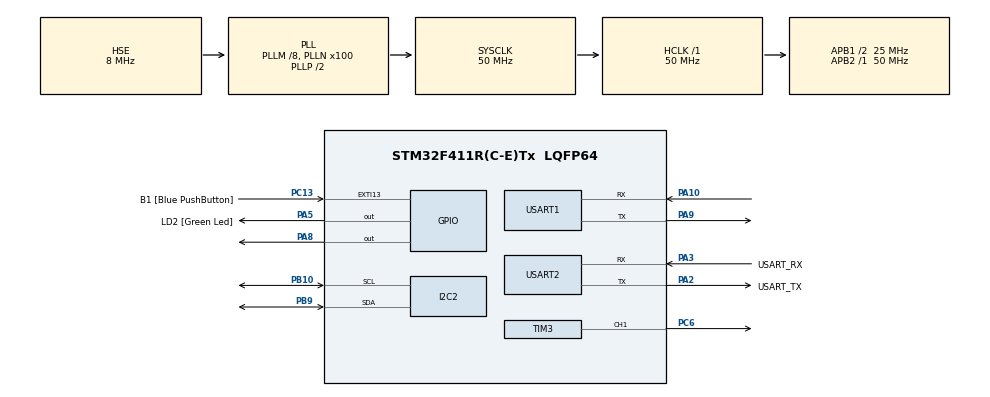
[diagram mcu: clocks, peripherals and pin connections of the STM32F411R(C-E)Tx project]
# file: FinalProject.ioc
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Mcu.Family=STM32F4
Mcu.Name=STM32F411R(C-E)Tx
Mcu.Package=LQFP64
NVIC.PriorityGroup=NVIC_PRIORITYGROUP_4
PA10.Mode=Asynchronous
PA10.Signal=USART1_RX
PA13.GPIO_Label=TMS
PA13.Mode=Serial_Wire
PA13.Signal=SYS_JTMS-SWDIO
PA14.GPIO_Label=TCK
PA14.Mode=Serial_Wire
PA14.Signal=SYS_JTCK-SWCLK
PA2.GPIO_Label=USART_TX
PA2.Mode=Asynchronous
PA2.Signal=USART2_TX
PA3.GPIO_Label=USART_RX
PA3.Mode=Asynchronous
PA3.Signal=USART2_RX
PA5.GPIO_Label=LD2 [Green Led]
PA5.GPIO_PuPd=GPIO_PULLUP
PA5.Signal=GPIO_Output
PA8.GPIO_PuPd=GPIO_PULLUP
PA8.Signal=GPIO_Output
PA9.Mode=Asynchronous
PA9.Signal=USART1_TX
PB10.Mode=I2C
PB10.Signal=I2C2_SCL
PB3.GPIO_Label=SWO
PB3.Signal=SYS_JTDO-SWO
PB9.Mode=I2C
PB9.Signal=I2C2_SDA
PC13-ANTI_TAMP.GPIO_Label=B1 [Blue PushButton]
PC13-ANTI_TAMP.GPIO_ModeDefaultEXTI=GPIO_MODE_IT_FALLING
PC13-ANTI_TAMP.Signal=GPXTI13
PC14-OSC32_IN.Mode=LSE-External-Oscillator
PC14-OSC32_IN.Signal=RCC_OSC32_IN
PC15-OSC32_OUT.Mode=LSE-External-Oscillator
PC15-OSC32_OUT.Signal=RCC_OSC32_OUT
PC6.Signal=S_TIM3_CH1
PH0\ -\ OSC_IN.Mode=HSE-External-Oscillator
PH0\ -\ OSC_IN.Signal=RCC_OSC_IN
PH1\ -\ OSC_OUT.Mode=HSE-External-Oscillator
PH1\ -\ OSC_OUT.Signal=RCC_OSC_OUT
ProjectManager.HeapSize=0x200
ProjectManager.StackSize=0x400
ProjectManager.TargetToolchain=STM32CubeIDE
RCC.48MHZClocksFreq_Value=25000000
RCC.AHBFreq_Value=50000000
RCC.APB1CLKDivider=RCC_HCLK_DIV2
RCC.APB1Freq_Value=25000000
RCC.APB1TimFreq_Value=50000000
RCC.APB2Freq_Value=50000000
RCC.APB2TimFreq_Value=50000000
RCC.CortexFreq_Value=50000000
RCC.FLatency-AdvancedSettings=FLASH_LATENCY_1
RCC.HCLKFreq_Value=50000000
RCC.HSE_VALUE=8000000
RCC.HSI_VALUE=16000000
RCC.PLLM=8
RCC.PLLN=100
RCC.PLLSourceVirtual=RCC_PLLSOURCE_HSE
RCC.SYSCLKFreq_VALUE=50000000
RCC.SYSCLKSource=RCC_SYSCLKSOURCE_PLLCLK
RCC.VCOOutputFreq_Value=100000000
SH.S_TIM3_CH1.0=TIM3_CH1,PWM Generation1 CH1
TIM3.Channel-PWM\ Generation1\ CH1=TIM_CHANNEL_1
TIM3.Prescaler=100-1
USART1.VirtualMode=VM_ASYNC
USART2.VirtualMode=VM_ASYNC
VP_TIM3_VS_ClockSourceINT.Mode=Internal
board=NUCLEO-F411RE

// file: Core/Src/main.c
/* USER CODE BEGIN Header */
/**
 ******************************************************************************
 * @file           : main.c
 * @brief          : Main program body
 ******************************************************************************
 * @attention
 *
 * Copyright (c) 2024 STMicroelectronics.
 * All rights reserved.
 *
 * This software is licensed under terms that can be found in the LICENSE file
 * in the root directory of this software component.
 * If no LICENSE file comes with this software, it is provided AS-IS.
 *
 ******************************************************************************
 */
/* USER CODE END Header */
#include "main.h"

/* USER CODE BEGIN Includes */
#include "bmp280.h"
#include "DHT.h"
#include "string.h"
#include "stdio.h"
/* USER CODE END Includes */

I2C_HandleTypeDef hi2c2;

TIM_HandleTypeDef htim3;

UART_HandleTypeDef huart1;
UART_HandleTypeDef huart2;

/* USER CODE BEGIN PV */

#define ALTITUDE 100; //height from sea level in meter
/* USER CODE END PV */

void SystemClock_Config(void);
static void MX_GPIO_Init(void);
static void MX_USART2_UART_Init(void);
static void MX_USART1_UART_Init(void);
static void MX_TIM3_Init(void);
static void MX_I2C2_Init(void);

/* USER CODE BEGIN 0 */
char uartData[256];

char nodemcu_buffer[150];

float altitude = ALTITUDE
;
// height from sea level in meter

BMP280_HandleTypedef bmp280;

bool bme280p;
float BMP_pressure, BMP_temperature, BMP_humidity;

/* DEFINE THE DHT DataTypedef
 * Look in the DHT.h for the definition
 */
DHT_DataTypedef DHT22_Data;
float DHT_temperature, DHT_humidity;

float cur_pressure, cur_temperature, cur_humidity = 0;
float prev_pressure, prev_temperature, prev_humidity = 0;
uint8_t z; // Prediction value

uint32_t lastReadSensorTick = 0;
uint32_t readSensorInterval = 4000;
uint32_t lastSendDataTick = 0;
uint32_t sendDataInterval = 30000;

void ReadDataFromSensors() {
	// Set LED for Debugging
	HAL_GPIO_WritePin(GPIOA, GPIO_PIN_5, GPIO_PIN_SET);

	// GET DATA FROM DHT22
	sprintf(uartData, "\r\nDHT22 Sensor:\r\n");
	HAL_UART_Transmit(&huart2, (uint8_t*) uartData, strlen(uartData), 1000);
	DHT_GetData(&DHT22_Data);
	DHT_temperature = DHT22_Data.Temperature / 10;
	DHT_humidity = DHT22_Data.Humidity / 10;
	sprintf(uartData, "Temp (C) =\t %.1f\r\nHumidity (%%) =\t %.1f%%\r\n",
			DHT_temperature, DHT_humidity);
	HAL_UART_Transmit(&huart2, (uint8_t*) uartData, strlen(uartData), 1000);

	HAL_Delay(1000); // WAIT

	// GET DATA FROM BMP-280
	sprintf(uartData, "BMP-280 Sensor:\r\n");
	HAL_UART_Transmit(&huart2, (uint8_t*) uartData, strlen(uartData), 1000);
	while (!bmp280_read_float(&bmp280, &BMP_temperature, &BMP_pressure,
			&BMP_humidity)) {
		sprintf(uartData, "Temperature/pressure reading failed\r\n");
		HAL_UART_Transmit(&huart2, (uint8_t*) uartData, strlen(uartData), 1000);
		HAL_Delay(2000);
	}

	sprintf(uartData, "Pressure: %.2f Pa, Temperature: %.2f C", BMP_pressure,
			BMP_temperature);
	HAL_UART_Transmit(&huart2, (uint8_t*) uartData, strlen(uartData), 1000);
	if (bme280p) {
		sprintf(uartData, ", Humidity: %.2f\r\n", BMP_humidity);
		HAL_UART_Transmit(&huart2, (uint8_t*) uartData, strlen(uartData), 1000);
	}

	else {
		sprintf((char*) uartData, "\r\n");
		HAL_UART_Transmit(&huart2, (uint8_t*) uartData, strlen(uartData), 1000);
	}

	// Set LED for Debugging
	HAL_GPIO_WritePin(GPIOA, GPIO_PIN_5, GPIO_PIN_RESET);
}

void ProcessData() {
	// Choose Data & Calibrate

	// Choose DHT22 over BMP-280 for temperature because it is more accurate
	if (DHT_temperature != 0) {
		cur_temperature = DHT_temperature;
	} else if (BMP_temperature != 0) {
		cur_temperature = BMP_temperature;
	} else {
		cur_temperature = prev_temperature;
	}

	// Humidity is DHT22-exclusive
	if (DHT_humidity != 0) {
		cur_humidity = DHT_humidity - 10; // Calibration
	} else {
		cur_humidity = prev_humidity;
	}

	// Pressure is BMP-280-exclusive
	if (BMP_pressure != 0) {
		cur_pressure = BMP_pressure;
	} else {
		cur_pressure = BMP_pressure;
	}

	// Process Prediction Algorithm

	// Calculate Pressure at Sea Level
	double temp1 = 1.0
			- (0.0065 * altitude)
					/ (cur_temperature + 0.0065 * altitude + 273.15);
	double temp2 = pow(temp1, -5.257);
	double p0 = cur_pressure / 100 * temp2;

	// Pressure is Rising
	if (cur_pressure > prev_pressure + 160) {
		z = 185 - 0.16 * p0;
	}
	// Pressure is Falling
	else if (cur_pressure < prev_pressure - 160) {
		z = 127 - 0.12 * p0;
	}
	// Pressure is Steady
	else {
		z = 144 - 0.13 * p0;
	}

	if(cur_humidity > 80.0)
	{
		z += 2;
	}
	else if(cur_humidity > 55.0)
	{
		z += 1;
	}

//	sprintf(uartData, "\r\nDEBUG: %f %f %f\r\n", temp1, temp2, p0);
//	HAL_UART_Transmit(&huart2, (uint8_t*) uartData, strlen(uartData), 1000);

	sprintf(uartData, "\r\nForecast Number = %d\r\n", z);
	HAL_UART_Transmit(&huart2, (uint8_t*) uartData, strlen(uartData), 1000);

	// Set Data History
	if (cur_pressure != 0) {
		prev_pressure = cur_pressure;
	}
	if (cur_temperature != 0) {
		prev_temperature = cur_temperature;
	}
	if (cur_humidity != 0) {
		prev_humidity = cur_humidity;
	}
}

void SendDataToNodeMCU() {
	// Decompose dustval to string (sprintf won't work with float)
	int pressure_before_decimal = (int) cur_pressure;
	int pressure_after_decimal = (int) (100
			* (cur_pressure - pressure_before_decimal));

	int temperature_before_decimal = (int) cur_temperature;
	int temperature_after_decimal = (int) (100
			* (cur_temperature - temperature_before_decimal));
	int humidity_before_decimal = (int) cur_humidity;
	int humidity_after_decimal = (int) (100
			* (cur_humidity - humidity_before_decimal));

	sprintf(nodemcu_buffer, "s%d.%d,%d.%d,%d.%d,%d\n", pressure_before_decimal,
			pressure_after_decimal, temperature_before_decimal,
			temperature_after_decimal, humidity_before_decimal,
			humidity_after_decimal, z);
	//dummy
	//	sprintf(pmbuffer, "s1.2,3.4,5.67,20e");
	// Transmit the message to ESP8266 in the correct format
	HAL_UART_Transmit(&huart1, (uint8_t*) nodemcu_buffer, strlen(nodemcu_buffer),
	HAL_MAX_DELAY);

	HAL_Delay(500);

	// uncomment to debug (print the sent message to console (baudrate=115200))
	sprintf(uartData, "\r\n===============\r\nmessage = %s\r===============\r\n", nodemcu_buffer);
	HAL_UART_Transmit(&huart2, (uint8_t*) uartData, strlen(uartData),
	HAL_MAX_DELAY);
}

/* USER CODE END 0 */

int main(void)
{

  /* MCU Configuration--------------------------------------------------------*/

  /* Reset of all peripherals, Initializes the Flash interface and the Systick. */
  HAL_Init();

  /* Configure the system clock */
  SystemClock_Config();

  /* Initialize all configured peripherals */
  MX_GPIO_Init();
  MX_USART2_UART_Init();
  MX_USART1_UART_Init();
  MX_TIM3_Init();
  MX_I2C2_Init();
  /* USER CODE BEGIN 2 */
	bmp280_init_default_params(&bmp280.params);
	bmp280.addr = BMP280_I2C_ADDRESS_0;
	bmp280.i2c = &hi2c2;
	while (!bmp280_init(&bmp280, &bmp280.params)) {
		sprintf(uartData, "BMP280 initialization failed\r\n");
		HAL_UART_Transmit(&huart2, (uint8_t*) uartData, strlen(uartData), 1000);
		HAL_Delay(2000);
	}
	bme280p = bmp280.id == BME280_CHIP_ID;
	sprintf(uartData, "\r\nBMP280: found %s\r\n",
			bme280p ? "BME280" : "BMP280");
	HAL_UART_Transmit(&huart2, (uint8_t*) uartData, strlen(uartData), 1000);
	HAL_Delay(1000); // WAIT
  /* USER CODE END 2 */

  /* Infinite loop */
	while (1) {

    /* USER CODE BEGIN 3 */
		uint32_t currentTick = HAL_GetTick();

		if(currentTick - lastReadSensorTick >= readSensorInterval){
			ReadDataFromSensors();
			ProcessData();
			lastReadSensorTick = currentTick;
		}

		if(currentTick - lastSendDataTick >= sendDataInterval){
			// Send Data to NodeMCU
			SendDataToNodeMCU();
			lastSendDataTick = currentTick;
		}
	}
  /* USER CODE END 3 */
}

void SystemClock_Config(void)
{
  RCC_OscInitTypeDef RCC_OscInitStruct = {0};
  RCC_ClkInitTypeDef RCC_ClkInitStruct = {0};

  /** Configure the main internal regulator output voltage
  */
  __HAL_RCC_PWR_CLK_ENABLE();
  __HAL_PWR_VOLTAGESCALING_CONFIG(PWR_REGULATOR_VOLTAGE_SCALE1);

  /** Initializes the RCC Oscillators according to the specified parameters
  * in the RCC_OscInitTypeDef structure.
  */
  RCC_OscInitStruct.OscillatorType = RCC_OSCILLATORTYPE_HSE;
  RCC_OscInitStruct.HSEState = RCC_HSE_ON;
  RCC_OscInitStruct.PLL.PLLState = RCC_PLL_ON;
  RCC_OscInitStruct.PLL.PLLSource = RCC_PLLSOURCE_HSE;
  RCC_OscInitStruct.PLL.PLLM = 8;
  RCC_OscInitStruct.PLL.PLLN = 100;
  RCC_OscInitStruct.PLL.PLLP = RCC_PLLP_DIV2;
  RCC_OscInitStruct.PLL.PLLQ = 4;
  if (HAL_RCC_OscConfig(&RCC_OscInitStruct) != HAL_OK)
  {
    Error_Handler();
  }

  /** Initializes the CPU, AHB and APB buses clocks
  */
  RCC_ClkInitStruct.ClockType = RCC_CLOCKTYPE_HCLK|RCC_CLOCKTYPE_SYSCLK
                              |RCC_CLOCKTYPE_PCLK1|RCC_CLOCKTYPE_PCLK2;
  RCC_ClkInitStruct.SYSCLKSource = RCC_SYSCLKSOURCE_PLLCLK;
  RCC_ClkInitStruct.AHBCLKDivider = RCC_SYSCLK_DIV1;
  RCC_ClkInitStruct.APB1CLKDivider = RCC_HCLK_DIV2;
  RCC_ClkInitStruct.APB2CLKDivider = RCC_HCLK_DIV1;

  if (HAL_RCC_ClockConfig(&RCC_ClkInitStruct, FLASH_LATENCY_1) != HAL_OK)
  {
    Error_Handler();
  }
}

static void MX_I2C2_Init(void)
{

  hi2c2.Instance = I2C2;
  hi2c2.Init.ClockSpeed = 100000;
  hi2c2.Init.DutyCycle = I2C_DUTYCYCLE_2;
  hi2c2.Init.OwnAddress1 = 0;
  hi2c2.Init.AddressingMode = I2C_ADDRESSINGMODE_7BIT;
  hi2c2.Init.DualAddressMode = I2C_DUALADDRESS_DISABLE;
  hi2c2.Init.OwnAddress2 = 0;
  hi2c2.Init.GeneralCallMode = I2C_GENERALCALL_DISABLE;
  hi2c2.Init.NoStretchMode = I2C_NOSTRETCH_DISABLE;
  if (HAL_I2C_Init(&hi2c2) != HAL_OK)
  {
    Error_Handler();
  }

}

static void MX_TIM3_Init(void)
{

  TIM_ClockConfigTypeDef sClockSourceConfig = {0};
  TIM_MasterConfigTypeDef sMasterConfig = {0};
  TIM_OC_InitTypeDef sConfigOC = {0};

  htim3.Instance = TIM3;
  htim3.Init.Prescaler = 100-1;
  htim3.Init.CounterMode = TIM_COUNTERMODE_UP;
  htim3.Init.Period = 65535;
  htim3.Init.ClockDivision = TIM_CLOCKDIVISION_DIV1;
  htim3.Init.AutoReloadPreload = TIM_AUTORELOAD_PRELOAD_DISABLE;
  if (HAL_TIM_Base_Init(&htim3) != HAL_OK)
  {
    Error_Handler();
  }
  sClockSourceConfig.ClockSource = TIM_CLOCKSOURCE_INTERNAL;
  if (HAL_TIM_ConfigClockSource(&htim3, &sClockSourceConfig) != HAL_OK)
  {
    Error_Handler();
  }
  if (HAL_TIM_PWM_Init(&htim3) != HAL_OK)
  {
    Error_Handler();
  }
  sMasterConfig.MasterOutputTrigger = TIM_TRGO_RESET;
  sMasterConfig.MasterSlaveMode = TIM_MASTERSLAVEMODE_DISABLE;
  if (HAL_TIMEx_MasterConfigSynchronization(&htim3, &sMasterConfig) != HAL_OK)
  {
    Error_Handler();
  }
  sConfigOC.OCMode = TIM_OCMODE_PWM1;
  sConfigOC.Pulse = 0;
  sConfigOC.OCPolarity = TIM_OCPOLARITY_HIGH;
  sConfigOC.OCFastMode = TIM_OCFAST_DISABLE;
  if (HAL_TIM_PWM_ConfigChannel(&htim3, &sConfigOC, TIM_CHANNEL_1) != HAL_OK)
  {
    Error_Handler();
  }
  HAL_TIM_MspPostInit(&htim3);

}

static void MX_USART1_UART_Init(void)
{

  huart1.Instance = USART1;
  huart1.Init.BaudRate = 115200;
  huart1.Init.WordLength = UART_WORDLENGTH_8B;
  huart1.Init.StopBits = UART_STOPBITS_1;
  huart1.Init.Parity = UART_PARITY_NONE;
  huart1.Init.Mode = UART_MODE_TX_RX;
  huart1.Init.HwFlowCtl = UART_HWCONTROL_NONE;
  huart1.Init.OverSampling = UART_OVERSAMPLING_16;
  if (HAL_UART_Init(&huart1) != HAL_OK)
  {
    Error_Handler();
  }

}

static void MX_USART2_UART_Init(void)
{

  huart2.Instance = USART2;
  huart2.Init.BaudRate = 115200;
  huart2.Init.WordLength = UART_WORDLENGTH_8B;
  huart2.Init.StopBits = UART_STOPBITS_1;
  huart2.Init.Parity = UART_PARITY_NONE;
  huart2.Init.Mode = UART_MODE_TX_RX;
  huart2.Init.HwFlowCtl = UART_HWCONTROL_NONE;
  huart2.Init.OverSampling = UART_OVERSAMPLING_16;
  if (HAL_UART_Init(&huart2) != HAL_OK)
  {
    Error_Handler();
  }

}

static void MX_GPIO_Init(void)
{
  GPIO_InitTypeDef GPIO_InitStruct = {0};

  /* GPIO Ports Clock Enable */
  __HAL_RCC_GPIOC_CLK_ENABLE();
  __HAL_RCC_GPIOH_CLK_ENABLE();
  __HAL_RCC_GPIOA_CLK_ENABLE();
  __HAL_RCC_GPIOB_CLK_ENABLE();

  /*Configure GPIO pin Output Level */
  HAL_GPIO_WritePin(GPIOA, LD2_Pin|GPIO_PIN_8, GPIO_PIN_RESET);

  /*Configure GPIO pin : B1_Pin */
  GPIO_InitStruct.Pin = B1_Pin;
  GPIO_InitStruct.Mode = GPIO_MODE_IT_FALLING;
  GPIO_InitStruct.Pull = GPIO_NOPULL;
  HAL_GPIO_Init(B1_GPIO_Port, &GPIO_InitStruct);

  /*Configure GPIO pins : LD2_Pin PA8 */
  GPIO_InitStruct.Pin = LD2_Pin|GPIO_PIN_8;
  GPIO_InitStruct.Mode = GPIO_MODE_OUTPUT_PP;
  GPIO_InitStruct.Pull = GPIO_PULLUP;
  GPIO_InitStruct.Speed = GPIO_SPEED_FREQ_LOW;
  HAL_GPIO_Init(GPIOA, &GPIO_InitStruct);

}

void Error_Handler(void)
{
__disable_irq();
while (1) {
}
}
